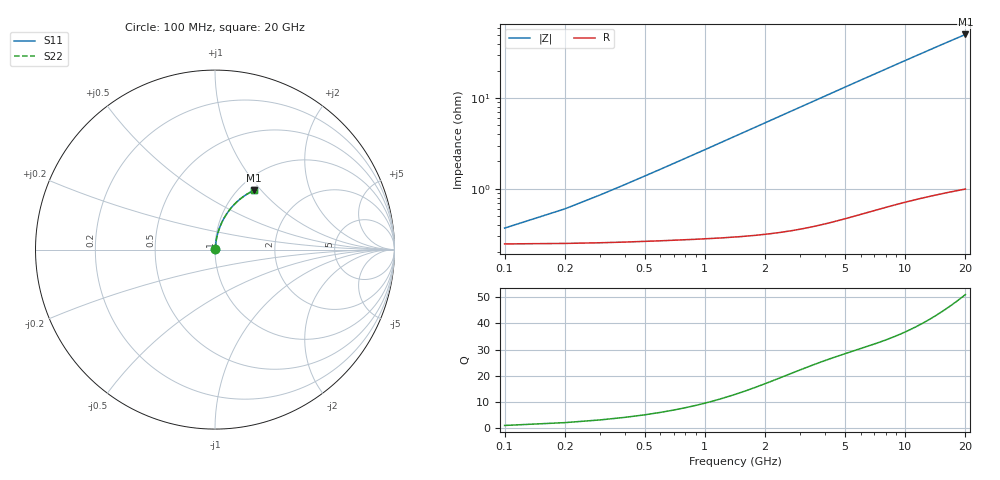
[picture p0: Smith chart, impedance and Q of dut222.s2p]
! Touchstone file exported from HFSS 2026.1.0
!  File:  C:/ffzhzh/LocalFiles/Ansys_Project_Files/temp_train_TMRDL_222_1782984351_40604.aedt
!  Generated:  05:27:09 PM Jul  2, 2026
!  Design:  TMRDL
!  Project:  temp_train_TMRDL_222_1782984351_40604
! Variables:
!  h_bsmrdl = 2um
!  h_ox = 20um
!  h_rdl = 5um
!  h_sub = 80um
!  h_tmrdl = 4.96um
!  h_tsv = 80um
!  h_via = 3um
!  l_bsmrdl = 300um
!  l_sub = 769.45um
!  l_tmrdl = 369.45um
!  m_sub = 200um
!  pitch = 54.67um
!  r_tsv = 6um
!  s_tmrdl = 10um
!  w_bsmrdl = 18um
!  w_sub = 500um
!  w_tmrdl = 11.06um
!  x_tsv_center1 = 374.98um
!  x_tsv_center2 = 692.98um
!  x_tsv_center3 = 1073.49um
!  x_tsv_center4 = 1391.49um
!  x_tsv_center5 = 1772um
!  x_tsv_center6 = 2090um
# GHz S MA R 50.000000
! Terminal data exported
! Port[1] = TM_RDL1_1_T1
! Port[2] = TM_RDL1_1_T2
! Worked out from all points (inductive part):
!   200 points, 100 MHz to 20 GHz, reference 50 ohm
!   read as one part in series: L = 432 pH near 300 MHz
!   highest Q = 51 at 20 GHz (marker M1), where L = 403 pH
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0.1  0.003395 43.6  0.9975 -0.2  0.9975 -0.2  0.003395 43.6
! Gamma 0 0 0 0
! Port Impedance 50 0 50 0
0.2  0.005306 61.8  0.9975 -0.4  0.9975 -0.4  0.005306 61.8
0.3  0.007457 69.7  0.9974 -0.5  0.9974 -0.5  0.007457 69.7
0.4  0.009678 73.9  0.9974 -0.7  0.9974 -0.7  0.009677 73.9
0.5  0.01192 76.5  0.9973 -0.9  0.9973 -0.9  0.01192 76.5
0.6  0.01417 78.1  0.9973 -1.1  0.9973 -1.1  0.01417 78.1
0.8  0.01869 80.2  0.9971 -1.4  0.9971 -1.4  0.01869 80.2
1.1  0.02548 81.7  0.9969 -1.9  0.9969 -1.9  0.02548 81.7
1.5  0.03454 82.5  0.9965 -2.6  0.9965 -2.6  0.03454 82.5
1.8  0.04133 82.6  0.9961 -3.1  0.9961 -3.1  0.04133 82.6
2.1  0.04811 82.6  0.9957 -3.7  0.9957 -3.7  0.04811 82.6
2.7  0.06162 82.1  0.9947 -4.7  0.9947 -4.7  0.06162 82.1
3.5  0.07949 81.2  0.993 -6.1  0.993 -6.1  0.07949 81.2
4.2  0.09497 80.2  0.9913 -7.3  0.9913 -7.3  0.09497 80.2
5  0.1125 79.0  0.9891 -8.6  0.9891 -8.6  0.1125 79.0
5.9  0.1319 77.7  0.9862 -10.1  0.9862 -10.1  0.1319 77.7
6.8  0.151 76.3  0.983 -11.6  0.983 -11.6  0.151 76.3
8.3  0.1822 74.0  0.977 -14.1  0.977 -14.1  0.1822 74.0
10.1  0.2186 71.2  0.9689 -17.0  0.9689 -17.0  0.2186 71.2
13.4  0.2819 66.2  0.9516 -22.2  0.9516 -22.2  0.2819 66.2
16.7  0.3406 61.4  0.9317 -27.2  0.9317 -27.2  0.3406 61.4
20  0.3941 56.7  0.91 -31.9  0.91 -31.9  0.3941 56.8
